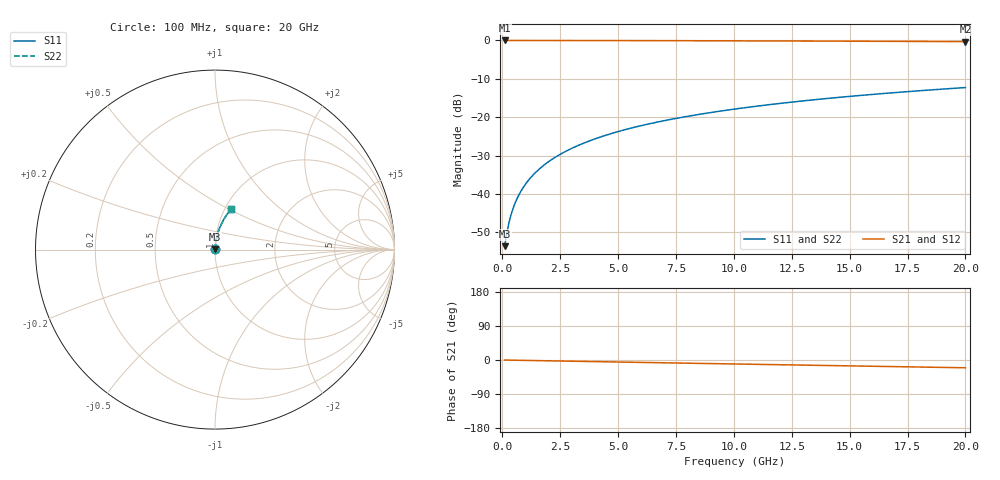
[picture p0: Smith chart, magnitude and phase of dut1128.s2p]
! Touchstone file exported from HFSS 2026.1.0
!  File:  C:/ffzhzh/LocalFiles/Ansys_Project_Files/temp_train_BSMRDL_1128_1783175266_55132.aedt
!  Generated:  10:29:01 PM Jul  4, 2026
!  Design:  BSMRDL
!  Project:  temp_train_BSMRDL_1128_1783175266_55132
! Variables:
!  h_bsmrdl = 3.97um
!  h_ox = 20um
!  h_rdl = 5um
!  h_sub = 80um
!  h_tmrdl = 5um
!  h_tsv = 80um
!  h_via = 3um
!  l_bsmrdl = 233.9um
!  l_sub = 633.9um
!  l_tmrdl = 200um
!  m_sub = 200um
!  pitch = 48.17um
!  r_tsv = 6um
!  s_tmrdl = 10um
!  w_bsmrdl = 14.52um
!  w_sub = 500um
!  w_tmrdl = 12um
!  x_tsv_center1 = 206um
!  x_tsv_center2 = 454.42um
!  x_tsv_center3 = 666.42um
!  x_tsv_center4 = 914.84um
!  x_tsv_center5 = 1126.84um
!  x_tsv_center6 = 1375.26um
# GHz S MA R 50.000000
! Terminal data exported
! Port[1] = BSM_RDL1_1_T1
! Port[2] = BSM_RDL1_1_T2
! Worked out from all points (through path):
!   200 points, 100 MHz to 20 GHz, reference 50 ohm
!   highest |S21| = -0.01 dB at 100 MHz (marker M1); lowest = -0.3 dB at 20 GHz (marker M2)
!   group delay of S21, straight-line fit = 2.85 ps
!   lowest |S11| = -53.6 dB at 100 MHz (marker M3), VSWR 1.00, Z = 50.2 + j0.137 ohm
!   |S11| at or under -10 dB: start of sweep to end of sweep
!   |S22| runs from -53.6 to -12.3 dB; largest |S21 - S12| = 2.3e-15
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0.1  0.002093 40.9  0.9984 -0.1  0.9984 -0.1  0.002093 40.9
! Gamma 0 0 0 0
! Port Impedance 50 0 50 0
0.2  0.003165 59.6  0.9984 -0.2  0.9984 -0.2  0.003161 59.6
0.3  0.00439 68.1  0.9983 -0.3  0.9983 -0.3  0.004383 68.1
0.4  0.005661 72.7  0.9983 -0.4  0.9983 -0.4  0.005653 72.7
0.5  0.006946 75.5  0.9982 -0.5  0.9982 -0.5  0.006939 75.6
0.6  0.008237 77.4  0.9982 -0.7  0.9982 -0.7  0.00823 77.4
0.8  0.01082 79.8  0.9981 -0.9  0.9981 -0.9  0.01082 79.8
1.1  0.0147 81.6  0.998 -1.2  0.998 -1.2  0.0147 81.7
1.5  0.01989 82.9  0.9979 -1.6  0.9979 -1.6  0.01989 82.9
1.8  0.02378 83.3  0.9977 -1.9  0.9977 -1.9  0.02378 83.3
2.1  0.02767 83.5  0.9976 -2.3  0.9976 -2.3  0.02767 83.5
2.7  0.03544 83.6  0.9972 -2.9  0.9972 -2.9  0.03544 83.6
3.5  0.04577 83.3  0.9966 -3.7  0.9966 -3.7  0.04577 83.3
4.2  0.05477 82.8  0.9959 -4.5  0.9959 -4.5  0.05477 82.8
5  0.06498 82.2  0.9951 -5.3  0.9951 -5.3  0.06498 82.2
5.9  0.07639 81.4  0.994 -6.3  0.994 -6.3  0.07639 81.4
6.8  0.08771 80.6  0.9928 -7.2  0.9928 -7.2  0.08771 80.6
8.3  0.1064 79.2  0.9905 -8.8  0.9905 -8.8  0.1064 79.2
10.1  0.1284 77.5  0.9874 -10.6  0.9874 -10.6  0.1284 77.5
13.4  0.168 74.3  0.9808 -14.0  0.9808 -14.0  0.168 74.3
16.7  0.2063 71.2  0.9729 -17.3  0.9729 -17.3  0.2063 71.2
20  0.2432 68.1  0.9639 -20.5  0.9639 -20.5  0.2432 68.1
